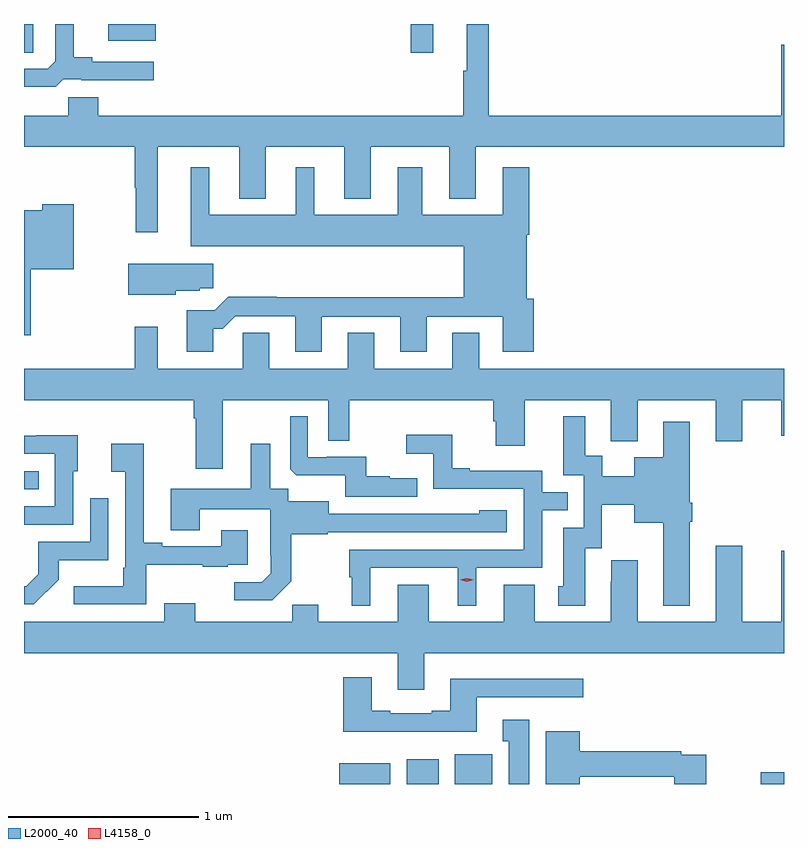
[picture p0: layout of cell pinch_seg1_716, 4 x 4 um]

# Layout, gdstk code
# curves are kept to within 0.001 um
import gdstk
lib = gdstk.Library(unit=1e-6, precision=1e-09)
def R(c, l, rs):  # rectangles x0, y0, x1, y1
    for r in rs: c.add(gdstk.rectangle(r[:2], r[2:], *l))
def P(c, l, *ps):  # polygons
    for p in ps: c.add(gdstk.Polygon(p, *l))
L2000_40 = (2000, 40)
L4158_0 = (4158, 0)

pinch_seg1_716 = lib.new_cell('pinch_seg1_716')
R(pinch_seg1_716, L2000_40, [(642.2,524.403,642.469,524.512), (642.557,524.403,642.724,524.533), (642.809,524.403,643.006,524.56), (644.42,524.403,644.542,524.465), (640.542,525.954,640.619,526.05), (642.577,528.252,642.695,528.403), (640.542,528.253,640.59,528.403), (640.985,528.314,641.236,528.403)])
P(pinch_seg1_716, L2000_40, [(640.934,528.018),(640.774,528.018),(640.774,527.92),(640.542,527.92),(640.542,527.756),(641.124,527.756),(641.124,527.54),(641.131,527.54),(641.131,527.307),(641.245,527.307),(641.245,527.756),(641.675,527.756),(641.675,527.483),(641.815,527.483),(641.815,527.756),(642.227,527.756),(642.227,527.483),(642.367,527.483),(642.367,527.756),(642.779,527.756),(642.779,527.483),(642.919,527.483),(642.919,527.756),(644.542,527.756),(644.542,528.295),(644.528,528.295),(644.528,527.92),(642.989,527.92),(642.989,528.403),(642.872,528.403),(642.872,528.156),(642.853,528.156),(642.853,527.92),(640.934,527.92)],
  [(640.749,528.111),(640.843,528.111),(640.843,528.107),(641.224,528.107),(641.224,528.204),(640.9,528.204),(640.9,528.227),(640.805,528.227),(640.805,528.403),(640.707,528.403),(640.707,528.207),(640.668,528.168),(640.542,528.168),(640.542,528.072),(640.709,528.072)],
  [(641.539,526.799),(641.588,526.799),(641.655,526.866),(641.969,526.866),(641.969,526.677),(642.109,526.677),(642.109,526.863),(642.521,526.863),(642.521,526.677),(642.661,526.677),(642.661,526.863),(643.061,526.863),(643.061,526.677),(643.226,526.677),(643.226,526.956),(643.189,526.956),(643.189,527.294),(643.202,527.294),(643.202,527.65),(643.061,527.65),(643.061,527.398),(642.637,527.398),(642.637,527.65),(642.509,527.65),(642.509,527.398),(642.07,527.398),(642.07,527.65),(641.972,527.65),(641.972,527.398),(641.518,527.398),(641.518,527.65),(641.42,527.65),(641.42,527.234),(642.857,527.234),(642.857,526.964),(641.873,526.964),(641.873,526.967),(641.618,526.967),(641.547,526.896),(641.399,526.896),(641.399,526.677),(641.539,526.677)],
  [(640.577,527.111),(640.804,527.111),(640.804,527.455),(640.639,527.455),(640.639,527.422),(640.542,527.422),(640.542,526.764),(640.577,526.764)],
  [(641.34,527),(641.466,527),(641.466,527.011),(641.539,527.011),(641.539,527.14),(641.09,527.14),(641.09,526.979),(641.34,526.979)],
  [(641.587,526.424),(642.144,526.424),(642.144,526.21),(642.253,526.21),(642.253,526.424),(643.013,526.424),(643.013,526.311),(643.025,526.311),(643.025,526.182),(643.177,526.182),(643.177,526.424),(643.631,526.424),(643.631,526.208),(643.771,526.208),(643.771,526.424),(644.183,526.424),(644.183,526.206),(644.323,526.206),(644.323,526.424),(644.528,526.424),(644.528,526.236),(644.542,526.236),(644.542,526.588),(642.937,526.588),(642.937,526.778),(642.797,526.778),(642.797,526.588),(642.385,526.588),(642.385,526.778),(642.245,526.778),(642.245,526.588),(641.833,526.588),(641.833,526.778),(641.694,526.778),(641.694,526.588),(641.245,526.588),(641.245,526.81),(641.124,526.81),(641.124,526.588),(640.542,526.588),(640.542,526.424),(641.435,526.424),(641.435,526.328),(641.447,526.328),(641.447,526.062),(641.587,526.062)],
  [(642.611,526.012),(642.467,526.012),(642.467,526.024),(642.344,526.024),(642.344,526.125),(642.136,526.125),(642.136,526.122),(642.036,526.122),(642.036,526.339),(641.943,526.339),(641.943,526.059),(641.975,526.028),(642.234,526.028),(642.234,525.915),(642.611,525.915)],
  [(644.047,525.783),(644.06,525.783),(644.06,525.883),(644.047,525.883),(644.047,526.309),(643.907,526.309),(643.907,526.123),(643.754,526.123),(643.754,526.024),(643.585,526.024),(643.585,526.13),(643.495,526.13),(643.495,526.339),(643.379,526.339),(643.379,526.029),(643.488,526.029),(643.488,525.753),(643.379,525.753),(643.379,525.444),(643.355,525.444),(643.355,525.342),(643.495,525.342),(643.495,525.645),(643.584,525.645),(643.584,525.872),(643.754,525.872),(643.754,525.779),(643.907,525.779),(643.907,525.341),(644.047,525.341)],
  [(642.364,525.54),(642.824,525.54),(642.824,525.341),(642.922,525.341),(642.922,525.54),(643.269,525.54),(643.269,525.843),(643.403,525.843),(643.403,525.939),(643.269,525.939),(643.269,526.053),(642.889,526.053),(642.889,526.066),(642.795,526.066),(642.795,526.241),(642.555,526.241),(642.555,526.142),(642.696,526.142),(642.696,525.957),(643.173,525.957),(643.173,525.636),(642.255,525.636),(642.255,525.492),(642.266,525.492),(642.266,525.341),(642.364,525.341)],
  [(640.8,526.05),(640.825,526.05),(640.825,526.238),(640.607,526.238),(640.607,526.236),(640.542,526.236),(640.542,526.14),(640.704,526.14),(640.704,525.864),(640.542,525.864),(640.542,525.768),(640.8,525.768)],
  [(641.949,525.471),(641.949,525.717),(642.141,525.717),(642.141,525.729),(643.084,525.729),(643.084,525.844),(642.939,525.844),(642.939,525.826),(642.145,525.825),(642.145,525.892),(641.934,525.892),(641.934,525.956),(641.839,525.956),(641.839,526.195),(641.735,526.195),(641.735,525.958),(641.315,525.958),(641.315,525.739),(641.467,525.739),(641.467,525.848),(641.838,525.848),(641.838,525.607),(641.84,525.607),(641.84,525.512),(641.793,525.465),(641.649,525.465),(641.649,525.371),(641.849,525.371)],
  [(641.185,525.557),(641.483,525.557),(641.483,525.546),(641.615,525.546),(641.615,525.558),(641.719,525.558),(641.719,525.739),(641.579,525.739),(641.579,525.654),(641.269,525.654),(641.269,525.673),(641.173,525.673),(641.173,526.195),(641.001,526.195),(641.001,526.046),(641.076,526.046),(641.076,525.541),(641.064,525.541),(641.064,525.445),(640.803,525.445),(640.803,525.348),(641.185,525.348)],
  [(640.725,525.479),(640.725,525.581),(640.986,525.581),(640.986,525.907),(640.89,525.907),(640.89,525.678),(640.617,525.678),(640.617,525.507),(640.554,525.444),(640.542,525.444),(640.542,525.348),(640.594,525.348)],
  [(644.542,525.631),(644.528,525.631),(644.528,525.256),(644.323,525.256),(644.323,525.658),(644.183,525.658),(644.183,525.256),(643.771,525.256),(643.771,525.58),(643.632,525.58),(643.632,525.467),(643.631,525.467),(643.631,525.256),(643.231,525.256),(643.231,525.451),(643.067,525.451),(643.067,525.256),(642.673,525.256),(642.673,525.451),(642.509,525.451),(642.509,525.256),(642.091,525.256),(642.091,525.347),(641.953,525.347),(641.953,525.256),(641.443,525.256),(641.443,525.355),(641.279,525.355),(641.279,525.256),(640.542,525.256),(640.542,525.092),(642.509,525.092),(642.509,524.898),(642.649,524.898),(642.649,525.092),(644.542,525.092)],
  [(642.925,524.859),(643.486,524.859),(643.486,524.956),(642.785,524.956),(642.785,524.788),(642.689,524.788),(642.689,524.775),(642.469,524.775),(642.469,524.788),(642.373,524.788),(642.373,524.965),(642.221,524.965),(642.221,524.678),(642.925,524.678)],
  [(643.201,524.74),(643.061,524.74),(643.061,524.627),(643.094,524.627),(643.094,524.403),(643.201,524.403)],
  [(643.468,524.44),(643.964,524.44),(643.964,524.403),(644.134,524.403),(644.134,524.556),(644,524.556),(644,524.576),(643.468,524.576),(643.468,524.68),(643.289,524.68),(643.289,524.403),(643.468,524.403)])
P(pinch_seg1_716, L4158_0, [(642.873,525.467),(642.837,525.477),(642.837,525.477),(642.837,525.477),(642.873,525.487),(642.909,525.477),(642.909,525.477),(642.909,525.477)])

lib.write_gds('pinch_seg1_716.gds')
